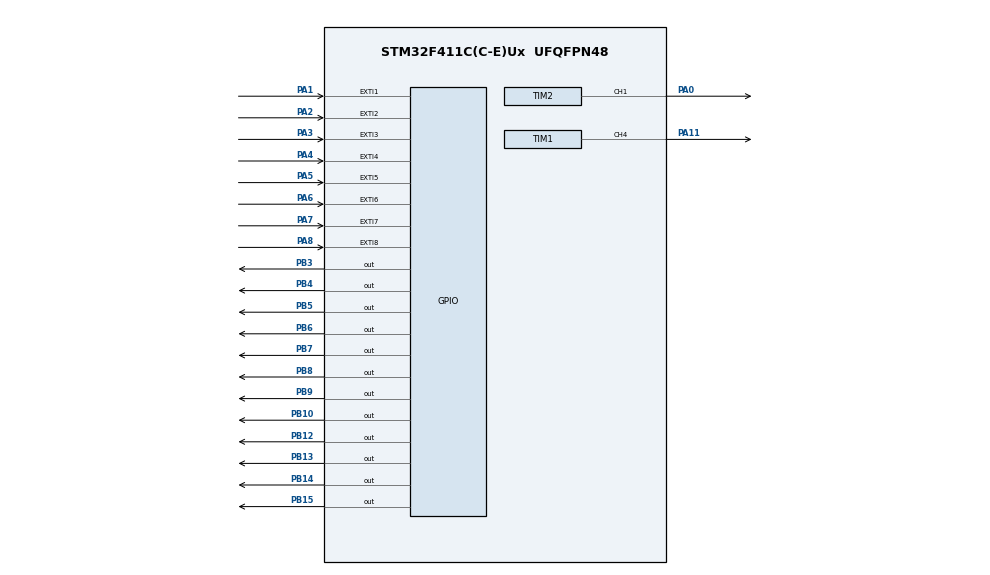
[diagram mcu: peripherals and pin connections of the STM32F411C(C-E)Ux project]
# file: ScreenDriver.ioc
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Mcu.Family=STM32F4
Mcu.Name=STM32F411C(C-E)Ux
Mcu.Package=UFQFPN48
NVIC.EXTI1_IRQn=true\:0\:0\:false\:false\:true\:true\:true
NVIC.EXTI2_IRQn=true\:0\:0\:false\:false\:true\:true\:true
NVIC.EXTI3_IRQn=true\:0\:0\:false\:false\:true\:true\:true
NVIC.EXTI4_IRQn=true\:0\:0\:false\:false\:true\:true\:true
NVIC.EXTI9_5_IRQn=true\:0\:0\:false\:false\:true\:true\:true
NVIC.PriorityGroup=NVIC_PRIORITYGROUP_4
PA0-WKUP.Signal=S_TIM2_CH1_ETR
PA1.GPIO_ModeDefaultEXTI=GPIO_MODE_IT_FALLING
PA1.GPIO_PuPd=GPIO_PULLUP
PA1.Signal=GPXTI1
PA11.Signal=S_TIM1_CH4
PA2.GPIO_ModeDefaultEXTI=GPIO_MODE_IT_FALLING
PA2.GPIO_PuPd=GPIO_PULLUP
PA2.Signal=GPXTI2
PA3.GPIO_ModeDefaultEXTI=GPIO_MODE_IT_FALLING
PA3.GPIO_PuPd=GPIO_PULLUP
PA3.Signal=GPXTI3
PA4.GPIO_ModeDefaultEXTI=GPIO_MODE_IT_FALLING
PA4.GPIO_PuPd=GPIO_PULLUP
PA4.Signal=GPXTI4
PA5.GPIO_ModeDefaultEXTI=GPIO_MODE_IT_FALLING
PA5.GPIO_PuPd=GPIO_PULLUP
PA5.Signal=GPXTI5
PA6.GPIO_ModeDefaultEXTI=GPIO_MODE_IT_FALLING
PA6.GPIO_PuPd=GPIO_PULLUP
PA6.Signal=GPXTI6
PA7.GPIO_ModeDefaultEXTI=GPIO_MODE_IT_FALLING
PA7.GPIO_PuPd=GPIO_PULLUP
PA7.Signal=GPXTI7
PA8.GPIO_ModeDefaultEXTI=GPIO_MODE_IT_FALLING
PA8.GPIO_PuPd=GPIO_PULLUP
PA8.Signal=GPXTI8
PB10.Signal=GPIO_Output
PB12.Signal=GPIO_Output
PB13.Signal=GPIO_Output
PB14.Signal=GPIO_Output
PB15.Signal=GPIO_Output
PB3.Signal=GPIO_Output
PB4.Signal=GPIO_Output
PB5.Signal=GPIO_Output
PB6.Signal=GPIO_Output
PB7.Signal=GPIO_Output
PB8.Signal=GPIO_Output
PB9.Signal=GPIO_Output
ProjectManager.HeapSize=0x200
ProjectManager.StackSize=0x400
ProjectManager.TargetToolchain=Makefile
RCC.48MHZClocksFreq_Value=48000000
RCC.AHBFreq_Value=96000000
RCC.APB1CLKDivider=RCC_HCLK_DIV2
RCC.APB1Freq_Value=48000000
RCC.APB1TimFreq_Value=96000000
RCC.APB2Freq_Value=96000000
RCC.APB2TimFreq_Value=96000000
RCC.CortexFreq_Value=96000000
RCC.HCLKFreq_Value=96000000
RCC.HSE_VALUE=25000000
RCC.HSI_VALUE=16000000
RCC.LSE_VALUE=32768
RCC.PLLM=8
RCC.PLLN=96
RCC.SYSCLKFreq_VALUE=96000000
RCC.SYSCLKSource=RCC_SYSCLKSOURCE_PLLCLK
RCC.VCOOutputFreq_Value=192000000
SH.S_TIM1_CH4.0=TIM1_CH4,Output Compare4 CH4
SH.S_TIM2_CH1_ETR.0=TIM2_CH1,Output Compare1 CH1
TIM1.Channel-Output\ Compare4\ CH4=TIM_CHANNEL_4
TIM1.Prescaler=256
TIM2.Channel-Output\ Compare1\ CH1=TIM_CHANNEL_1
TIM4.Period=9600
TIM4.Prescaler=48
VP_TIM1_VS_ClockSourceINT.Mode=Internal
VP_TIM2_VS_ClockSourceINT.Mode=Internal
VP_TIM4_VS_ClockSourceINT.Mode=Internal
board=custom

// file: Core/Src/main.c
/* USER CODE BEGIN Header */
/**
  ******************************************************************************
  * @file           : main.c
  * @brief          : Main program body
  ******************************************************************************
  * @attention
  *
  * Copyright (c) 2022 STMicroelectronics.
  * All rights reserved.
  *
  * This software is licensed under terms that can be found in the LICENSE file
  * in the root directory of this software component.
  * If no LICENSE file comes with this software, it is provided AS-IS.
  *
  ******************************************************************************
  */
/* USER CODE END Header */
#include "main.h"

TIM_HandleTypeDef htim2;
TIM_HandleTypeDef htim4;

/* USER CODE BEGIN PV */
/* Buttons variables */
int bUP     = 0;
int bDOWN   = 0;
int bA      = 0;
int bLEFT   = 0;
int bRIGHT  = 0;
int bSELECT = 0;
int bSTART  = 0;
int bB      = 0;

/* Buttons functions */
void (*fUP)(void)     = &emptyFunc;
void (*fA)(void)      = &emptyFunc;
void (*fDOWN)(void)   = &emptyFunc;
void (*fLEFT)(void)   = &emptyFunc;
void (*fRIGHT)(void)  = &emptyFunc;
void (*fSELECT)(void) = &emptyFunc;
void (*fSTART)(void)  = &emptyFunc;
void (*fB)(void)      = &emptyFunc;
/* USER CODE END PV */

void SystemClock_Config(void);
static void MX_GPIO_Init(void);
static void MX_TIM1_Init(void);
static void MX_TIM2_Init(void);
static void MX_TIM4_Init(void);
/* USER CODE BEGIN PFP */
void SystemCheckUp(void);

static uint32_t GetSector(uint32_t Address)
{
  uint32_t sector = 0;

  if((Address < 0x08003FFF) && (Address >= 0x08000000))
  {
    sector = FLASH_SECTOR_0;
  }
  else if((Address < 0x08007FFF) && (Address >= 0x08004000))
  {
    sector = FLASH_SECTOR_1;
  }
  else if((Address < 0x0800BFFF) && (Address >= 0x08008000))
  {
    sector = FLASH_SECTOR_2;
  }
  else if((Address < 0x0800FFFF) && (Address >= 0x0800C000))
  {
    sector = FLASH_SECTOR_3;
  }
  else if((Address < 0x0801FFFF) && (Address >= 0x08010000))
  {
    sector = FLASH_SECTOR_4;
  }
  else if((Address < 0x0803FFFF) && (Address >= 0x08020000))
  {
    sector = FLASH_SECTOR_5;
  }
  else if((Address < 0x0805FFFF) && (Address >= 0x08040000))
  {
    sector = FLASH_SECTOR_6;
  }
  else if((Address < 0x0807FFFF) && (Address >= 0x08060000))
  {
    sector = FLASH_SECTOR_7;
  }
  return sector;
}

uint8_t bytes_temp[4];

void float2Bytes(uint8_t * ftoa_bytes_temp,float float_variable)
{
    union {
      float a;
      uint8_t bytes[4];
    } thing;

    thing.a = float_variable;

    for (uint8_t i = 0; i < 4; i++) {
      ftoa_bytes_temp[i] = thing.bytes[i];
    }

}

float Bytes2float(uint8_t * ftoa_bytes_temp)
{
    union {
      float a;
      uint8_t bytes[4];
    } thing;

    for (uint8_t i = 0; i < 4; i++) {
    	thing.bytes[i] = ftoa_bytes_temp[i];
    }

   float float_variable =  thing.a;
   return float_variable;
}

uint32_t Flash_Write_Data (uint32_t StartSectorAddress, uint32_t *Data, uint16_t numberofwords)
{

	static FLASH_EraseInitTypeDef EraseInitStruct;
	uint32_t SECTORError;
	int sofar=0;

	 /* Unlock the Flash to enable the flash control register access *************/
	  HAL_FLASH_Unlock();

	  /* Erase the user Flash area */

	  /* Get the number of sector to erase from 1st sector */

	  uint32_t StartSector = GetSector(StartSectorAddress);
	  uint32_t EndSectorAddress = StartSectorAddress + numberofwords*4;
	  uint32_t EndSector = GetSector(EndSectorAddress);

	  /* Fill EraseInit structure*/
	  EraseInitStruct.TypeErase     = FLASH_TYPEERASE_SECTORS;
	  EraseInitStruct.VoltageRange  = FLASH_VOLTAGE_RANGE_3;
	  EraseInitStruct.Sector        = StartSector;
	  EraseInitStruct.NbSectors     = (EndSector - StartSector) + 1;

	  /* Note: If an erase operation in Flash memory also concerns data in the data or instruction cache,
	     you have to make sure that these data are rewritten before they are accessed during code
	     execution. If this cannot be done safely, it is recommended to flush the caches by setting the
	     DCRST and ICRST bits in the FLASH_CR register. */
	  if (HAL_FLASHEx_Erase(&EraseInitStruct, &SECTORError) != HAL_OK)
	  {
		  return HAL_FLASH_GetError ();
	  }

	  /* Program the user Flash area word by word
	    (area defined by FLASH_USER_START_ADDR and FLASH_USER_END_ADDR) ***********/

	   while (sofar<numberofwords)
	   {
	     if (HAL_FLASH_Program(FLASH_TYPEPROGRAM_WORD, StartSectorAddress, Data[sofar]) == HAL_OK)
	     {
	    	 StartSectorAddress += 4;  // use StartPageAddress += 2 for half word and 8 for double word
	    	 sofar++;
	     }
	     else
	     {
	       /* Error occurred while writing data in Flash memory*/
	    	 return HAL_FLASH_GetError ();
	     }
	   }

	  /* Lock the Flash to disable the flash control register access (recommended
	     to protect the FLASH memory against possible unwanted operation) *********/
	  HAL_FLASH_Lock();

	   return 0;
}

void Flash_Read_Data (uint32_t StartSectorAddress, uint32_t *RxBuf, uint16_t numberofwords)
{
	while (1)
	{

		*RxBuf = *(__IO uint32_t *)StartSectorAddress;
		StartSectorAddress += 4;
		RxBuf++;
		if (!(numberofwords--)) break;
	}
}

void Convert_To_Str (uint32_t *Data, char *Buf)
{
	int numberofbytes = ((strlen((char *)Data)/4) + ((strlen((char *)Data) % 4) != 0)) *4;

	for (int i=0; i<numberofbytes; i++)
	{
		Buf[i] = Data[i/4]>>(8*(i%4));
	}
}

void Flash_Write_NUM (uint32_t StartSectorAddress, float Num)
{

	float2Bytes(bytes_temp, Num);

	Flash_Write_Data (StartSectorAddress, (uint32_t *)bytes_temp, 1);
}

float Flash_Read_NUM (uint32_t StartSectorAddress)
{
	uint8_t buffer[4];
	float value;

	Flash_Read_Data(StartSectorAddress, (uint32_t *)buffer, 1);
	value = Bytes2float(buffer);
	return value;
}
/* USER CODE END PFP */

/* USER CODE BEGIN 0 */
void emptyFunc(void){
  return;
}

void setAfunction(void (*f)(void)){
  fA = f;
}

void setBfunction(void (*f)(void)){
  fB = f;
}

void setUPfunction(void (*f)(void)){
  fUP = f;
}

void setDOWNfunction(void (*f)(void)){
  fDOWN = f;
}

void setRIGHTfunction(void (*f)(void)){
  fRIGHT = f;
}

void setLEFTfunction(void (*f)(void)){
  fLEFT = f;
}

void setSTARTfunction(void (*f)(void)){
  fSTART = f;
}

void setSELECTfunction(void (*f)(void)){
  fSELECT = f;
}

void SystemCheckUp(){
  if(bUP){
    bUP = 0;
    fUP();
    NVIC_EnableIRQ(EXTI0_IRQn);
  }
  if(bDOWN){
    fDOWN();
    bDOWN = 0;
    NVIC_EnableIRQ(EXTI1_IRQn);
  }
  if(bA){
    bA = 0;
    fA();
    NVIC_EnableIRQ(EXTI3_IRQn);
  }
  if(bLEFT){
    bLEFT = 0;
    fLEFT();
    NVIC_EnableIRQ(EXTI4_IRQn);
  }
  if(bRIGHT){
    bRIGHT = 0;
    fRIGHT();
    LL_EXTI_EnableIT_0_31(LL_EXTI_LINE_5);
  }
  if(bSELECT){
    bSELECT = 0;
    fSELECT();
    LL_EXTI_EnableIT_0_31(LL_EXTI_LINE_6);
  }
  if(bSTART){
    bSTART = 0;
    fSTART();
    LL_EXTI_EnableIT_0_31(LL_EXTI_LINE_7);
  }
  if(bB){
    bB = 0;
    fB();
    LL_EXTI_EnableIT_0_31(LL_EXTI_LINE_8);
  }
}

void initSystem(){

  HAL_Init();
  SystemClock_Config();

  MX_GPIO_Init();

  MX_TIM1_Init();
  MX_TIM2_Init();
  MX_TIM4_Init();

  LL_TIM_EnableCounter(TIM1);
  LL_TIM_EnableCounter(TIM4);

  initScreen();
}

void saveHighScore(int score){
  Flash_Write_NUM(0x0800C100, score);
}

int  getHighScore(){
  return Flash_Read_NUM(0x0800C100);
}

void updateHighScore(int score){
  int high = Flash_Read_NUM(0x0800C100);
  if(score > high){
    Flash_Write_NUM(0x0800C100, score);
  }
}

void setSync(int us){
  LL_TIM_DisableCounter(TIM4);
  LL_TIM_SetCounter(TIM4, us);
  LL_TIM_EnableCounter(TIM4);
}

void sync(){
  while(LL_TIM_IsActiveFlag_UPDATE(TIM4) == 0);
  LL_TIM_ClearFlag_UPDATE(TIM4);
}
/* USER CODE END 0 */

void SystemClock_Config(void)
{
  LL_FLASH_SetLatency(LL_FLASH_LATENCY_3);
  while(LL_FLASH_GetLatency()!= LL_FLASH_LATENCY_3)
  {
  }
  LL_PWR_SetRegulVoltageScaling(LL_PWR_REGU_VOLTAGE_SCALE1);
  LL_RCC_HSI_SetCalibTrimming(16);
  LL_RCC_HSI_Enable();

   /* Wait till HSI is ready */
  while(LL_RCC_HSI_IsReady() != 1)
  {

  }
  LL_RCC_PLL_ConfigDomain_SYS(LL_RCC_PLLSOURCE_HSI, LL_RCC_PLLM_DIV_8, 96, LL_RCC_PLLP_DIV_2);
  LL_RCC_PLL_Enable();

   /* Wait till PLL is ready */
  while(LL_RCC_PLL_IsReady() != 1)
  {

  }
  LL_RCC_SetAHBPrescaler(LL_RCC_SYSCLK_DIV_1);
  LL_RCC_SetAPB1Prescaler(LL_RCC_APB1_DIV_2);
  LL_RCC_SetAPB2Prescaler(LL_RCC_APB2_DIV_1);
  LL_RCC_SetSysClkSource(LL_RCC_SYS_CLKSOURCE_PLL);

   /* Wait till System clock is ready */
  while(LL_RCC_GetSysClkSource() != LL_RCC_SYS_CLKSOURCE_STATUS_PLL)
  {

  }
  LL_SetSystemCoreClock(96000000);

   /* Update the time base */
  if (HAL_InitTick (TICK_INT_PRIORITY) != HAL_OK)
  {
    Error_Handler();
  }
  LL_RCC_SetTIMPrescaler(LL_RCC_TIM_PRESCALER_TWICE);
}

static void MX_TIM1_Init(void)
{

  LL_TIM_InitTypeDef TIM_InitStruct = {0};
  LL_TIM_OC_InitTypeDef TIM_OC_InitStruct = {0};
  LL_TIM_BDTR_InitTypeDef TIM_BDTRInitStruct = {0};

  LL_GPIO_InitTypeDef GPIO_InitStruct = {0};

  /* Peripheral clock enable */
  LL_APB2_GRP1_EnableClock(LL_APB2_GRP1_PERIPH_TIM1);

  TIM_InitStruct.Prescaler = 256;
  TIM_InitStruct.CounterMode = LL_TIM_COUNTERMODE_UP;
  TIM_InitStruct.Autoreload = 65535;
  TIM_InitStruct.ClockDivision = LL_TIM_CLOCKDIVISION_DIV1;
  TIM_InitStruct.RepetitionCounter = 0;
  LL_TIM_Init(TIM1, &TIM_InitStruct);
  LL_TIM_DisableARRPreload(TIM1);
  LL_TIM_SetClockSource(TIM1, LL_TIM_CLOCKSOURCE_INTERNAL);
  TIM_OC_InitStruct.OCMode = LL_TIM_OCMODE_FROZEN;
  TIM_OC_InitStruct.OCState = LL_TIM_OCSTATE_DISABLE;
  TIM_OC_InitStruct.OCNState = LL_TIM_OCSTATE_DISABLE;
  TIM_OC_InitStruct.CompareValue = 0;
  TIM_OC_InitStruct.OCPolarity = LL_TIM_OCPOLARITY_HIGH;
  TIM_OC_InitStruct.OCIdleState = LL_TIM_OCIDLESTATE_LOW;
  TIM_OC_InitStruct.OCNIdleState = LL_TIM_OCIDLESTATE_LOW;
  LL_TIM_OC_Init(TIM1, LL_TIM_CHANNEL_CH4, &TIM_OC_InitStruct);
  LL_TIM_OC_DisableFast(TIM1, LL_TIM_CHANNEL_CH4);
  LL_TIM_SetTriggerOutput(TIM1, LL_TIM_TRGO_RESET);
  LL_TIM_DisableMasterSlaveMode(TIM1);
  TIM_BDTRInitStruct.OSSRState = LL_TIM_OSSR_DISABLE;
  TIM_BDTRInitStruct.OSSIState = LL_TIM_OSSI_DISABLE;
  TIM_BDTRInitStruct.LockLevel = LL_TIM_LOCKLEVEL_OFF;
  TIM_BDTRInitStruct.DeadTime = 0;
  TIM_BDTRInitStruct.BreakState = LL_TIM_BREAK_DISABLE;
  TIM_BDTRInitStruct.BreakPolarity = LL_TIM_BREAK_POLARITY_HIGH;
  TIM_BDTRInitStruct.AutomaticOutput = LL_TIM_AUTOMATICOUTPUT_DISABLE;
  LL_TIM_BDTR_Init(TIM1, &TIM_BDTRInitStruct);
  LL_AHB1_GRP1_EnableClock(LL_AHB1_GRP1_PERIPH_GPIOA);
  /**TIM1 GPIO Configuration
  PA11   ------> TIM1_CH4
  */
  GPIO_InitStruct.Pin = LL_GPIO_PIN_11;
  GPIO_InitStruct.Mode = LL_GPIO_MODE_ALTERNATE;
  GPIO_InitStruct.Speed = LL_GPIO_SPEED_FREQ_LOW;
  GPIO_InitStruct.OutputType = LL_GPIO_OUTPUT_PUSHPULL;
  GPIO_InitStruct.Pull = LL_GPIO_PULL_NO;
  GPIO_InitStruct.Alternate = LL_GPIO_AF_1;
  LL_GPIO_Init(GPIOA, &GPIO_InitStruct);

}

static void MX_TIM2_Init(void)
{

  TIM_ClockConfigTypeDef sClockSourceConfig = {0};
  TIM_MasterConfigTypeDef sMasterConfig = {0};
  TIM_OC_InitTypeDef sConfigOC = {0};

  htim2.Instance = TIM2;
  htim2.Init.Prescaler = 0;
  htim2.Init.CounterMode = TIM_COUNTERMODE_UP;
  htim2.Init.Period = 4294967295;
  htim2.Init.ClockDivision = TIM_CLOCKDIVISION_DIV1;
  htim2.Init.AutoReloadPreload = TIM_AUTORELOAD_PRELOAD_DISABLE;
  if (HAL_TIM_Base_Init(&htim2) != HAL_OK)
  {
    Error_Handler();
  }
  sClockSourceConfig.ClockSource = TIM_CLOCKSOURCE_INTERNAL;
  if (HAL_TIM_ConfigClockSource(&htim2, &sClockSourceConfig) != HAL_OK)
  {
    Error_Handler();
  }
  if (HAL_TIM_OC_Init(&htim2) != HAL_OK)
  {
    Error_Handler();
  }
  sMasterConfig.MasterOutputTrigger = TIM_TRGO_RESET;
  sMasterConfig.MasterSlaveMode = TIM_MASTERSLAVEMODE_DISABLE;
  if (HAL_TIMEx_MasterConfigSynchronization(&htim2, &sMasterConfig) != HAL_OK)
  {
    Error_Handler();
  }
  sConfigOC.OCMode = TIM_OCMODE_TIMING;
  sConfigOC.Pulse = 0;
  sConfigOC.OCPolarity = TIM_OCPOLARITY_HIGH;
  sConfigOC.OCFastMode = TIM_OCFAST_DISABLE;
  if (HAL_TIM_OC_ConfigChannel(&htim2, &sConfigOC, TIM_CHANNEL_1) != HAL_OK)
  {
    Error_Handler();
  }
  HAL_TIM_MspPostInit(&htim2);

}

static void MX_TIM4_Init(void)
{

  TIM_ClockConfigTypeDef sClockSourceConfig = {0};
  TIM_MasterConfigTypeDef sMasterConfig = {0};

  htim4.Instance = TIM4;
  htim4.Init.Prescaler = 48;
  htim4.Init.CounterMode = TIM_COUNTERMODE_UP;
  htim4.Init.Period = 9600;
  htim4.Init.ClockDivision = TIM_CLOCKDIVISION_DIV1;
  htim4.Init.AutoReloadPreload = TIM_AUTORELOAD_PRELOAD_DISABLE;
  if (HAL_TIM_Base_Init(&htim4) != HAL_OK)
  {
    Error_Handler();
  }
  sClockSourceConfig.ClockSource = TIM_CLOCKSOURCE_INTERNAL;
  if (HAL_TIM_ConfigClockSource(&htim4, &sClockSourceConfig) != HAL_OK)
  {
    Error_Handler();
  }
  sMasterConfig.MasterOutputTrigger = TIM_TRGO_RESET;
  sMasterConfig.MasterSlaveMode = TIM_MASTERSLAVEMODE_DISABLE;
  if (HAL_TIMEx_MasterConfigSynchronization(&htim4, &sMasterConfig) != HAL_OK)
  {
    Error_Handler();
  }

}

static void MX_GPIO_Init(void)
{
  LL_EXTI_InitTypeDef EXTI_InitStruct = {0};
  LL_GPIO_InitTypeDef GPIO_InitStruct = {0};

  /* GPIO Ports Clock Enable */
  LL_AHB1_GRP1_EnableClock(LL_AHB1_GRP1_PERIPH_GPIOA);
  LL_AHB1_GRP1_EnableClock(LL_AHB1_GRP1_PERIPH_GPIOB);

  /**/
  LL_GPIO_ResetOutputPin(GPIOB, LL_GPIO_PIN_10|LL_GPIO_PIN_12|LL_GPIO_PIN_13|LL_GPIO_PIN_14
                          |LL_GPIO_PIN_15|LL_GPIO_PIN_3|LL_GPIO_PIN_4|LL_GPIO_PIN_5
                          |LL_GPIO_PIN_6|LL_GPIO_PIN_7|LL_GPIO_PIN_8|LL_GPIO_PIN_9);

  /**/
  LL_SYSCFG_SetEXTISource(LL_SYSCFG_EXTI_PORTA, LL_SYSCFG_EXTI_LINE1);

  /**/
  LL_SYSCFG_SetEXTISource(LL_SYSCFG_EXTI_PORTA, LL_SYSCFG_EXTI_LINE2);

  /**/
  LL_SYSCFG_SetEXTISource(LL_SYSCFG_EXTI_PORTA, LL_SYSCFG_EXTI_LINE3);

  /**/
  LL_SYSCFG_SetEXTISource(LL_SYSCFG_EXTI_PORTA, LL_SYSCFG_EXTI_LINE4);

  /**/
  LL_SYSCFG_SetEXTISource(LL_SYSCFG_EXTI_PORTA, LL_SYSCFG_EXTI_LINE5);

  /**/
  LL_SYSCFG_SetEXTISource(LL_SYSCFG_EXTI_PORTA, LL_SYSCFG_EXTI_LINE6);

  /**/
  LL_SYSCFG_SetEXTISource(LL_SYSCFG_EXTI_PORTA, LL_SYSCFG_EXTI_LINE7);

  /**/
  LL_SYSCFG_SetEXTISource(LL_SYSCFG_EXTI_PORTA, LL_SYSCFG_EXTI_LINE8);

  /**/
  EXTI_InitStruct.Line_0_31 = LL_EXTI_LINE_1;
  EXTI_InitStruct.LineCommand = ENABLE;
  EXTI_InitStruct.Mode = LL_EXTI_MODE_IT;
  EXTI_InitStruct.Trigger = LL_EXTI_TRIGGER_FALLING;
  LL_EXTI_Init(&EXTI_InitStruct);

  /**/
  EXTI_InitStruct.Line_0_31 = LL_EXTI_LINE_2;
  EXTI_InitStruct.LineCommand = ENABLE;
  EXTI_InitStruct.Mode = LL_EXTI_MODE_IT;
  EXTI_InitStruct.Trigger = LL_EXTI_TRIGGER_FALLING;
  LL_EXTI_Init(&EXTI_InitStruct);

  /**/
  EXTI_InitStruct.Line_0_31 = LL_EXTI_LINE_3;
  EXTI_InitStruct.LineCommand = ENABLE;
  EXTI_InitStruct.Mode = LL_EXTI_MODE_IT;
  EXTI_InitStruct.Trigger = LL_EXTI_TRIGGER_FALLING;
  LL_EXTI_Init(&EXTI_InitStruct);

  /**/
  EXTI_InitStruct.Line_0_31 = LL_EXTI_LINE_4;
  EXTI_InitStruct.LineCommand = ENABLE;
  EXTI_InitStruct.Mode = LL_EXTI_MODE_IT;
  EXTI_InitStruct.Trigger = LL_EXTI_TRIGGER_FALLING;
  LL_EXTI_Init(&EXTI_InitStruct);

  /**/
  EXTI_InitStruct.Line_0_31 = LL_EXTI_LINE_5;
  EXTI_InitStruct.LineCommand = ENABLE;
  EXTI_InitStruct.Mode = LL_EXTI_MODE_IT;
  EXTI_InitStruct.Trigger = LL_EXTI_TRIGGER_FALLING;
  LL_EXTI_Init(&EXTI_InitStruct);

  /**/
  EXTI_InitStruct.Line_0_31 = LL_EXTI_LINE_6;
  EXTI_InitStruct.LineCommand = ENABLE;
  EXTI_InitStruct.Mode = LL_EXTI_MODE_IT;
  EXTI_InitStruct.Trigger = LL_EXTI_TRIGGER_FALLING;
  LL_EXTI_Init(&EXTI_InitStruct);

  /**/
  EXTI_InitStruct.Line_0_31 = LL_EXTI_LINE_7;
  EXTI_InitStruct.LineCommand = ENABLE;
  EXTI_InitStruct.Mode = LL_EXTI_MODE_IT;
  EXTI_InitStruct.Trigger = LL_EXTI_TRIGGER_FALLING;
  LL_EXTI_Init(&EXTI_InitStruct);

  /**/
  EXTI_InitStruct.Line_0_31 = LL_EXTI_LINE_8;
  EXTI_InitStruct.LineCommand = ENABLE;
  EXTI_InitStruct.Mode = LL_EXTI_MODE_IT;
  EXTI_InitStruct.Trigger = LL_EXTI_TRIGGER_FALLING;
  LL_EXTI_Init(&EXTI_InitStruct);

  /**/
  LL_GPIO_SetPinPull(GPIOA, LL_GPIO_PIN_1, LL_GPIO_PULL_UP);

  /**/
  LL_GPIO_SetPinPull(GPIOA, LL_GPIO_PIN_2, LL_GPIO_PULL_UP);

  /**/
  LL_GPIO_SetPinPull(GPIOA, LL_GPIO_PIN_3, LL_GPIO_PULL_UP);

  /**/
  LL_GPIO_SetPinPull(GPIOA, LL_GPIO_PIN_4, LL_GPIO_PULL_UP);

  /**/
  LL_GPIO_SetPinPull(GPIOA, LL_GPIO_PIN_5, LL_GPIO_PULL_UP);

  /**/
  LL_GPIO_SetPinPull(GPIOA, LL_GPIO_PIN_6, LL_GPIO_PULL_UP);

  /**/
  LL_GPIO_SetPinPull(GPIOA, LL_GPIO_PIN_7, LL_GPIO_PULL_UP);

  /**/
  LL_GPIO_SetPinPull(GPIOA, LL_GPIO_PIN_8, LL_GPIO_PULL_UP);

  /**/
  LL_GPIO_SetPinMode(GPIOA, LL_GPIO_PIN_1, LL_GPIO_MODE_INPUT);

  /**/
  LL_GPIO_SetPinMode(GPIOA, LL_GPIO_PIN_2, LL_GPIO_MODE_INPUT);

  /**/
  LL_GPIO_SetPinMode(GPIOA, LL_GPIO_PIN_3, LL_GPIO_MODE_INPUT);

  /**/
  LL_GPIO_SetPinMode(GPIOA, LL_GPIO_PIN_4, LL_GPIO_MODE_INPUT);

  /**/
  LL_GPIO_SetPinMode(GPIOA, LL_GPIO_PIN_5, LL_GPIO_MODE_INPUT);

  /**/
  LL_GPIO_SetPinMode(GPIOA, LL_GPIO_PIN_6, LL_GPIO_MODE_INPUT);

  /**/
  LL_GPIO_SetPinMode(GPIOA, LL_GPIO_PIN_7, LL_GPIO_MODE_INPUT);

  /**/
  LL_GPIO_SetPinMode(GPIOA, LL_GPIO_PIN_8, LL_GPIO_MODE_INPUT);

  /**/
  GPIO_InitStruct.Pin = LL_GPIO_PIN_10|LL_GPIO_PIN_12|LL_GPIO_PIN_13|LL_GPIO_PIN_14
                          |LL_GPIO_PIN_15|LL_GPIO_PIN_3|LL_GPIO_PIN_4|LL_GPIO_PIN_5
                          |LL_GPIO_PIN_6|LL_GPIO_PIN_7|LL_GPIO_PIN_8|LL_GPIO_PIN_9;
  GPIO_InitStruct.Mode = LL_GPIO_MODE_OUTPUT;
  GPIO_InitStruct.Speed = LL_GPIO_SPEED_FREQ_LOW;
  GPIO_InitStruct.OutputType = LL_GPIO_OUTPUT_PUSHPULL;
  GPIO_InitStruct.Pull = LL_GPIO_PULL_NO;
  LL_GPIO_Init(GPIOB, &GPIO_InitStruct);

  /* EXTI interrupt init*/
  NVIC_SetPriority(EXTI1_IRQn, NVIC_EncodePriority(NVIC_GetPriorityGrouping(),0, 0));
  NVIC_EnableIRQ(EXTI1_IRQn);
  NVIC_SetPriority(EXTI2_IRQn, NVIC_EncodePriority(NVIC_GetPriorityGrouping(),0, 0));
  NVIC_EnableIRQ(EXTI2_IRQn);
  NVIC_SetPriority(EXTI3_IRQn, NVIC_EncodePriority(NVIC_GetPriorityGrouping(),0, 0));
  NVIC_EnableIRQ(EXTI3_IRQn);
  NVIC_SetPriority(EXTI4_IRQn, NVIC_EncodePriority(NVIC_GetPriorityGrouping(),0, 0));
  NVIC_EnableIRQ(EXTI4_IRQn);
  NVIC_SetPriority(EXTI9_5_IRQn, NVIC_EncodePriority(NVIC_GetPriorityGrouping(),0, 0));
  NVIC_EnableIRQ(EXTI9_5_IRQn);

}

void Error_Handler(void)
{
  __disable_irq();
  while (1)
  {
  }
}
